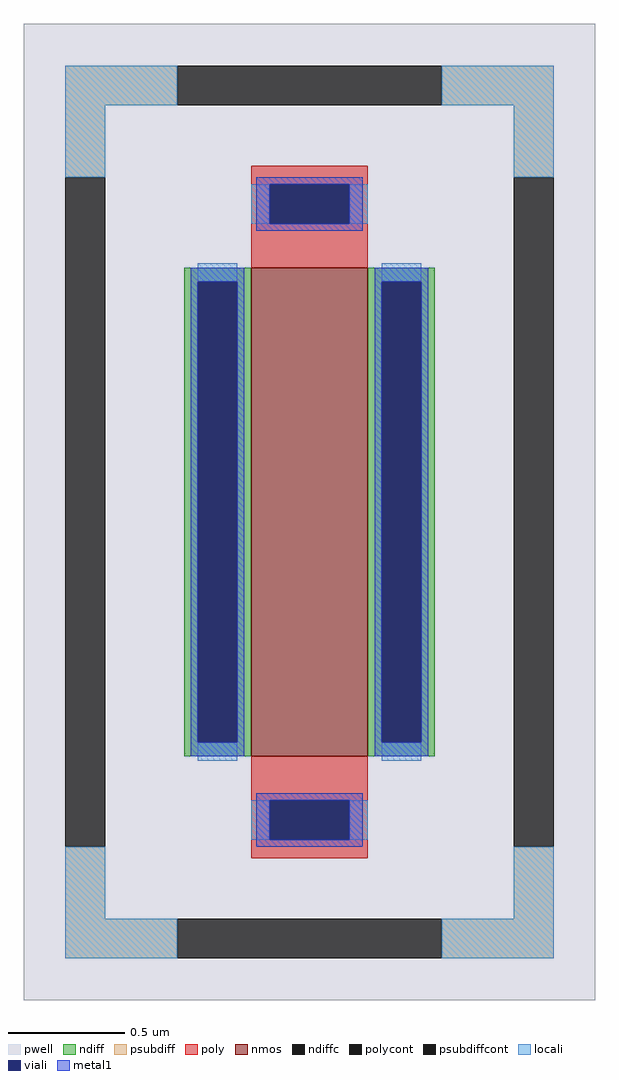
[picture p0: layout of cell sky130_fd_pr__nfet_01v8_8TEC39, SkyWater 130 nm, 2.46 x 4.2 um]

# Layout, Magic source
magic
tech sky130A
<< pwell >>
rect -123 -210 123 210
<< nmos >>
rect -25 -105 25 105
<< ndiff >>
rect -54 99 -25 105
rect -54 -99 -48 99
rect -31 -99 -25 99
rect -54 -105 -25 -99
rect 25 99 54 105
rect 25 -99 31 99
rect 48 -99 54 99
rect 25 -105 54 -99
<< ndiffc >>
rect -48 -99 -31 99
rect 31 -99 48 99
<< psubdiff >>
rect -105 175 -57 192
rect 57 175 105 192
rect -105 144 -88 175
rect 88 144 105 175
rect -105 -175 -88 -144
rect 88 -175 105 -144
rect -105 -192 -57 -175
rect 57 -192 105 -175
<< psubdiffcont >>
rect -57 175 57 192
rect -105 -144 -88 144
rect 88 -144 105 144
rect -57 -192 57 -175
<< poly >>
rect -25 141 25 149
rect -25 124 -17 141
rect 17 124 25 141
rect -25 105 25 124
rect -25 -124 25 -105
rect -25 -141 -17 -124
rect 17 -141 25 -124
rect -25 -149 25 -141
<< polycont >>
rect -17 124 17 141
rect -17 -141 17 -124
<< locali >>
rect -105 175 -57 192
rect 57 175 105 192
rect -105 144 -88 175
rect 88 144 105 175
rect -25 124 -17 141
rect 17 124 25 141
rect -48 99 -31 107
rect -48 -107 -31 -99
rect 31 99 48 107
rect 31 -107 48 -99
rect -25 -141 -17 -124
rect 17 -141 25 -124
rect -105 -175 -88 -144
rect 88 -175 105 -144
rect -105 -192 -57 -175
rect 57 -192 105 -175
<< viali >>
rect -17 124 17 141
rect -48 -99 -31 99
rect 31 -99 48 99
rect -17 -141 17 -124
<< metal1 >>
rect -23 141 23 144
rect -23 124 -17 141
rect 17 124 23 141
rect -23 121 23 124
rect -51 99 -28 105
rect -51 -99 -48 99
rect -31 -99 -28 99
rect -51 -105 -28 -99
rect 28 99 51 105
rect 28 -99 31 99
rect 48 -99 51 99
rect 28 -105 51 -99
rect -23 -124 23 -121
rect -23 -141 -17 -124
rect 17 -141 23 -124
rect -23 -144 23 -141
<< properties >>
string FIXED_BBOX -96 -183 96 183
string gencell sky130_fd_pr__nfet_01v8
string library sky130
string parameters w 2.1 l 0.5 m 1 nf 1 diffcov 100 polycov 100 guard 1 glc 1 grc 1 gtc 1 gbc 1 tbcov 100 rlcov 100 topc 1 botc 1 poverlap 0 doverlap 1 lmin 0.15 wmin 0.42 compatible {sky130_fd_pr__nfet_01v8 sky130_fd_pr__nfet_01v8_lvt  sky130_fd_bs_flash__special_sonosfet_star  sky130_fd_pr__nfet_g5v0d10v5 sky130_fd_pr__nfet_05v0_nvt  sky130_fd_pr__nfet_03v3_nvt} full_metal 1 viasrc 100 viadrn 100 viagate 100 viagb 0 viagr 0 viagl 0 viagt 0
<< end >>
